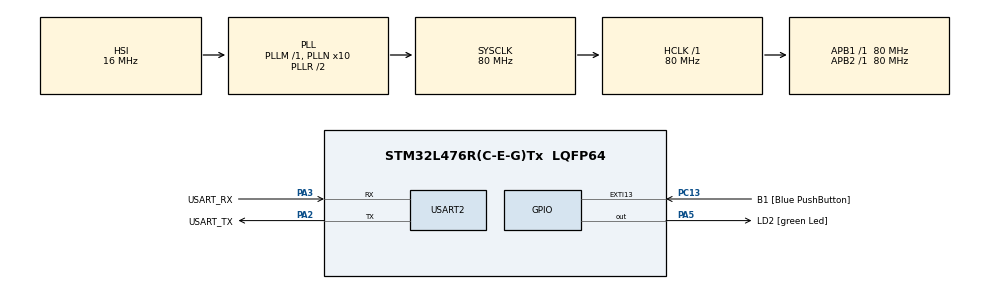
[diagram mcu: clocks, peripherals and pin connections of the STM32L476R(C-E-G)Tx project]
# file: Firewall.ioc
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Mcu.Family=STM32L4
Mcu.Name=STM32L476R(C-E-G)Tx
Mcu.Package=LQFP64
NVIC.PriorityGroup=NVIC_PRIORITYGROUP_4
PA13\ (JTMS-SWDIO).GPIO_Label=TMS
PA13\ (JTMS-SWDIO).Mode=Serial_Wire
PA13\ (JTMS-SWDIO).Signal=SYS_JTMS-SWDIO
PA14\ (JTCK-SWCLK).GPIO_Label=TCK
PA14\ (JTCK-SWCLK).Mode=Serial_Wire
PA14\ (JTCK-SWCLK).Signal=SYS_JTCK-SWCLK
PA2.GPIO_Label=USART_TX
PA2.GPIO_Mode=GPIO_MODE_AF_PP
PA2.GPIO_PuPd=GPIO_NOPULL
PA2.GPIO_Speed=GPIO_SPEED_FREQ_VERY_HIGH
PA2.Mode=Asynchronous
PA2.Signal=USART2_TX
PA3.GPIO_Label=USART_RX
PA3.GPIO_Mode=GPIO_MODE_AF_PP
PA3.GPIO_PuPd=GPIO_NOPULL
PA3.GPIO_Speed=GPIO_SPEED_FREQ_VERY_HIGH
PA3.Mode=Asynchronous
PA3.Signal=USART2_RX
PA5.GPIO_Label=LD2 [green Led]
PA5.GPIO_ModeDefaultOutputPP=GPIO_MODE_OUTPUT_PP
PA5.GPIO_PuPd=GPIO_NOPULL
PA5.GPIO_Speed=GPIO_SPEED_FREQ_LOW
PA5.Signal=GPIO_Output
PB3\ (JTDO-TRACESWO).GPIO_Label=SWO
PB3\ (JTDO-TRACESWO).Signal=SYS_JTDO-SWO
PC13.GPIO_Label=B1 [Blue PushButton]
PC13.GPIO_ModeDefaultEXTI=GPIO_MODE_IT_FALLING
PC13.GPIO_PuPd=GPIO_NOPULL
PC13.Signal=GPXTI13
PC14-OSC32_IN\ (PC14).Mode=LSE-External-Oscillator
PC14-OSC32_IN\ (PC14).Signal=RCC_OSC32_IN
PC15-OSC32_OUT\ (PC15).Mode=LSE-External-Oscillator
PC15-OSC32_OUT\ (PC15).Signal=RCC_OSC32_OUT
PH0-OSC_IN\ (PH0).Signal=RCC_OSC_IN
PH1-OSC_OUT\ (PH1).Signal=RCC_OSC_OUT
ProjectManager.HeapSize=0x200
ProjectManager.StackSize=0x400
ProjectManager.TargetToolchain=STM32CubeIDE
RCC.ADCFreq_Value=64000000
RCC.AHBFreq_Value=80000000
RCC.APB1Freq_Value=80000000
RCC.APB1TimFreq_Value=80000000
RCC.APB2Freq_Value=80000000
RCC.APB2TimFreq_Value=80000000
RCC.CortexFreq_Value=80000000
RCC.HCLKFreq_Value=80000000
RCC.HSE_VALUE=8000000
RCC.HSI_VALUE=16000000
RCC.MSI_VALUE=4000000
RCC.PLLN=10
RCC.PLLSourceVirtual=RCC_PLLSOURCE_HSI
RCC.PREFETCH_ENABLE=1
RCC.SYSCLKFreq_VALUE=80000000
RCC.SYSCLKSource=RCC_SYSCLKSOURCE_PLLCLK
RCC.USBFreq_Value=64000000
RCC.VCOOutputFreq_Value=160000000
USART2.VirtualMode-Asynchronous=VM_ASYNC
board=NUCLEO-L476RG

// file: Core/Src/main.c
/* USER CODE BEGIN Header */
/**
  ******************************************************************************
  * @file           : main.c
  * @brief          : Main program body
  ******************************************************************************
  * @attention
  *
  * Copyright (c) 2026 STMicroelectronics.
  * All rights reserved.
  *
  * This software is licensed under terms that can be found in the LICENSE file
  * in the root directory of this software component.
  * If no LICENSE file comes with this software, it is provided AS-IS.
  *
  ******************************************************************************
  */
/* USER CODE END Header */
#include "main.h"

UART_HandleTypeDef huart2;

/* USER CODE BEGIN PV */
__attribute__((section(".securedata"))) uint32_t number_calls;

/* USER CODE END PV */

void SystemClock_Config(void);
static void MX_GPIO_Init(void);
static void MX_USART2_UART_Init(void);

/* USER CODE BEGIN 0 */
void __attribute__((section(".mysection"))) Protected_function(void);
void __attribute__((section(".mysection"), noinline)) toggleLED(void);

void __attribute__((section(".mysection"))) Protected_function(void)
{
    __HAL_FIREWALL_PREARM_DISABLE();
    toggleLED();
    __asm__ (
        "ldr r4, =number_calls\n"
        "ldr r5, [r4]\n"
        "add r5, #1\n"
        "str r5, [r4]\n"
        "ldr r6, =0xDEADBEEF");
    __HAL_FIREWALL_PREARM_ENABLE();
}

void __attribute__((section(".mysection"), noinline)) toggleLED(void)
{
	GPIOA->ODR ^= GPIO_PIN_5;
}

/* USER CODE END 0 */

int main(void)
{

  /* MCU Configuration--------------------------------------------------------*/

  /* Reset of all peripherals, Initializes the Flash interface and the Systick. */
  HAL_Init();

  /* Configure the system clock */
  SystemClock_Config();

  /* Initialize all configured peripherals */
  MX_GPIO_Init();
  MX_USART2_UART_Init();
  /* USER CODE BEGIN 2 */
  __HAL_RCC_SYSCFG_CLK_ENABLE();
  number_calls = 0;

  FIREWALL_InitTypeDef fw_init = {0};
  fw_init.CodeSegmentStartAddress    = 0x080FC000;
  fw_init.CodeSegmentLength          = 0x2000;
  fw_init.NonVDataSegmentStartAddress = 0x080FE000;
  fw_init.NonVDataSegmentLength      = 0x200;
  fw_init.VDataSegmentStartAddress   = 0x2000FE00;
  fw_init.VDataSegmentLength         = 0x200;
  fw_init.VolatileDataExecution      = FIREWALL_VOLATILEDATA_NOT_EXECUTABLE;
  fw_init.VolatileDataShared         = FIREWALL_VOLATILEDATA_NOT_SHARED;

  if (HAL_FIREWALL_Config(&fw_init) != HAL_OK) Error_Handler();
  HAL_FIREWALL_EnableFirewall();

  /* USER CODE END 2 */

  /* Infinite loop */
  /* USER CODE BEGIN WHILE */
  while (1)
  {
	  __disable_irq();
	  Protected_function();
	  //volatile uint32_t x = number_calls;
	  //toggleLED();
	  __enable_irq();
	  HAL_Delay(500);
    /* USER CODE END WHILE */

  }
}

void SystemClock_Config(void)
{
  RCC_OscInitTypeDef RCC_OscInitStruct = {0};
  RCC_ClkInitTypeDef RCC_ClkInitStruct = {0};

  /** Configure the main internal regulator output voltage
  */
  if (HAL_PWREx_ControlVoltageScaling(PWR_REGULATOR_VOLTAGE_SCALE1) != HAL_OK)
  {
    Error_Handler();
  }

  /** Initializes the RCC Oscillators according to the specified parameters
  * in the RCC_OscInitTypeDef structure.
  */
  RCC_OscInitStruct.OscillatorType = RCC_OSCILLATORTYPE_HSI;
  RCC_OscInitStruct.HSIState = RCC_HSI_ON;
  RCC_OscInitStruct.HSICalibrationValue = RCC_HSICALIBRATION_DEFAULT;
  RCC_OscInitStruct.PLL.PLLState = RCC_PLL_ON;
  RCC_OscInitStruct.PLL.PLLSource = RCC_PLLSOURCE_HSI;
  RCC_OscInitStruct.PLL.PLLM = 1;
  RCC_OscInitStruct.PLL.PLLN = 10;
  RCC_OscInitStruct.PLL.PLLP = RCC_PLLP_DIV7;
  RCC_OscInitStruct.PLL.PLLQ = RCC_PLLQ_DIV2;
  RCC_OscInitStruct.PLL.PLLR = RCC_PLLR_DIV2;
  if (HAL_RCC_OscConfig(&RCC_OscInitStruct) != HAL_OK)
  {
    Error_Handler();
  }

  /** Initializes the CPU, AHB and APB buses clocks
  */
  RCC_ClkInitStruct.ClockType = RCC_CLOCKTYPE_HCLK|RCC_CLOCKTYPE_SYSCLK
                              |RCC_CLOCKTYPE_PCLK1|RCC_CLOCKTYPE_PCLK2;
  RCC_ClkInitStruct.SYSCLKSource = RCC_SYSCLKSOURCE_PLLCLK;
  RCC_ClkInitStruct.AHBCLKDivider = RCC_SYSCLK_DIV1;
  RCC_ClkInitStruct.APB1CLKDivider = RCC_HCLK_DIV1;
  RCC_ClkInitStruct.APB2CLKDivider = RCC_HCLK_DIV1;

  if (HAL_RCC_ClockConfig(&RCC_ClkInitStruct, FLASH_LATENCY_4) != HAL_OK)
  {
    Error_Handler();
  }
}

static void MX_USART2_UART_Init(void)
{

  huart2.Instance = USART2;
  huart2.Init.BaudRate = 115200;
  huart2.Init.WordLength = UART_WORDLENGTH_8B;
  huart2.Init.StopBits = UART_STOPBITS_1;
  huart2.Init.Parity = UART_PARITY_NONE;
  huart2.Init.Mode = UART_MODE_TX_RX;
  huart2.Init.HwFlowCtl = UART_HWCONTROL_NONE;
  huart2.Init.OverSampling = UART_OVERSAMPLING_16;
  huart2.Init.OneBitSampling = UART_ONE_BIT_SAMPLE_DISABLE;
  huart2.AdvancedInit.AdvFeatureInit = UART_ADVFEATURE_NO_INIT;
  if (HAL_UART_Init(&huart2) != HAL_OK)
  {
    Error_Handler();
  }

}

static void MX_GPIO_Init(void)
{
  GPIO_InitTypeDef GPIO_InitStruct = {0};

  /* GPIO Ports Clock Enable */
  __HAL_RCC_GPIOC_CLK_ENABLE();
  __HAL_RCC_GPIOH_CLK_ENABLE();
  __HAL_RCC_GPIOA_CLK_ENABLE();
  __HAL_RCC_GPIOB_CLK_ENABLE();

  /*Configure GPIO pin Output Level */
  HAL_GPIO_WritePin(LD2_GPIO_Port, LD2_Pin, GPIO_PIN_RESET);

  /*Configure GPIO pin : B1_Pin */
  GPIO_InitStruct.Pin = B1_Pin;
  GPIO_InitStruct.Mode = GPIO_MODE_IT_FALLING;
  GPIO_InitStruct.Pull = GPIO_NOPULL;
  HAL_GPIO_Init(B1_GPIO_Port, &GPIO_InitStruct);

  /*Configure GPIO pin : LD2_Pin */
  GPIO_InitStruct.Pin = LD2_Pin;
  GPIO_InitStruct.Mode = GPIO_MODE_OUTPUT_PP;
  GPIO_InitStruct.Pull = GPIO_NOPULL;
  GPIO_InitStruct.Speed = GPIO_SPEED_FREQ_LOW;
  HAL_GPIO_Init(LD2_GPIO_Port, &GPIO_InitStruct);

}

void Error_Handler(void)
{
  __disable_irq();
  while (1)
  {
  }
}
